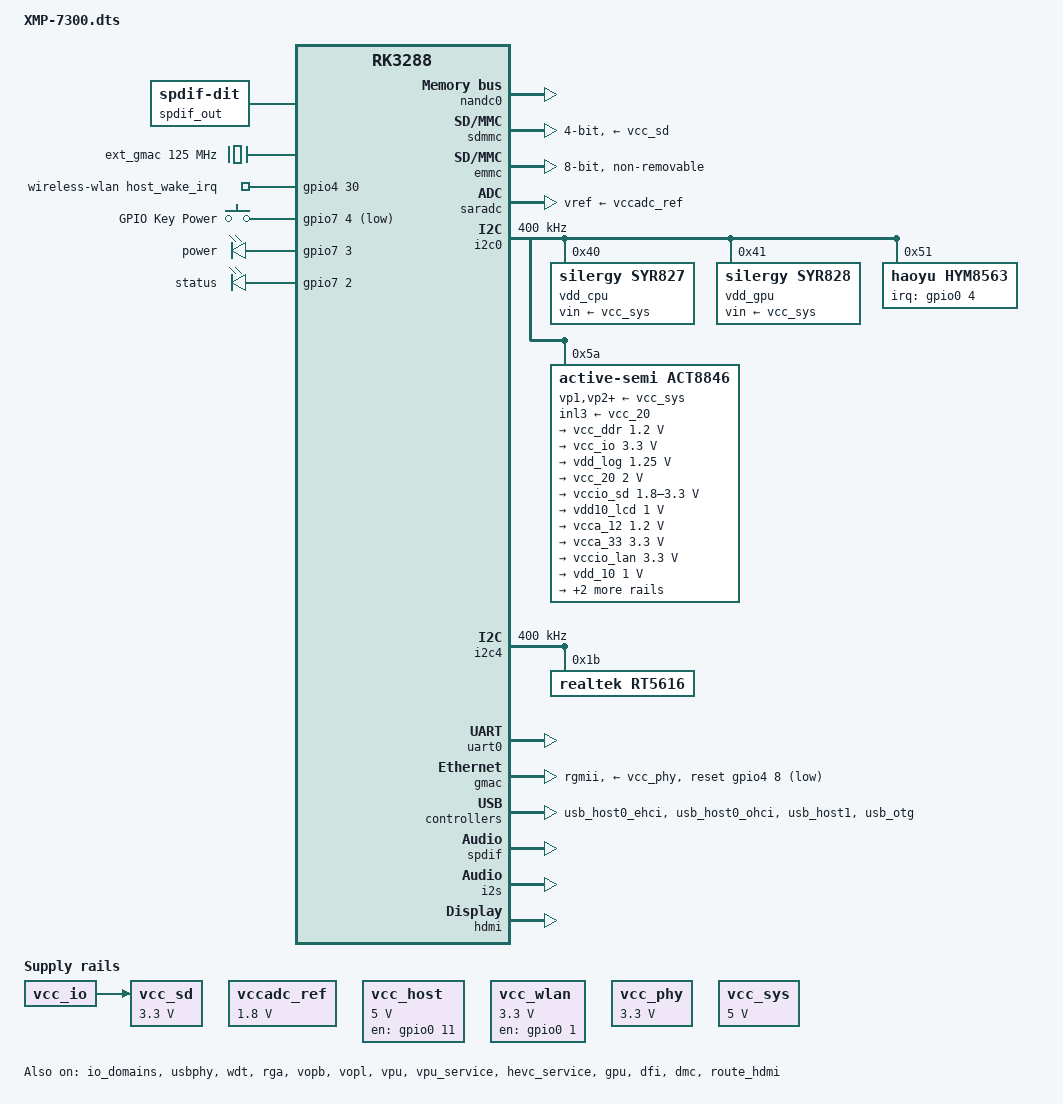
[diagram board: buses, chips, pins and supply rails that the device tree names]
/*
 * This file is dual-licensed: you can use it either under the terms
 * of the GPL or the X11 license, at your option. Note that this dual
 * licensing only applies to this file, and not this project as a
 * whole.
 *
 *  a) This file is free software; you can redistribute it and/or
 *     modify it under the terms of the GNU General Public License as
 *     published by the Free Software Foundation; either version 2 of the
 *     License, or (at your option) any later version.
 *
 *     This file is distributed in the hope that it will be useful,
 *     but WITHOUT ANY WARRANTY; without even the implied warranty of
 *     MERCHANTABILITY or FITNESS FOR A PARTICULAR PURPOSE.  See the
 *     GNU General Public License for more details.
 *
 * Or, alternatively,
 *
 *  b) Permission is hereby granted, free of charge, to any person
 *     obtaining a copy of this software and associated documentation
 *     files (the "Software"), to deal in the Software without
 *     restriction, including without limitation the rights to use,
 *     copy, modify, merge, publish, distribute, sublicense, and/or
 *     sell copies of the Software, and to permit persons to whom the
 *     Software is furnished to do so, subject to the following
 *     conditions:
 *
 *     The above copyright notice and this permission notice shall be
 *     included in all copies or substantial portions of the Software.
 *
 *     THE SOFTWARE IS PROVIDED "AS IS", WITHOUT WARRANTY OF ANY KIND,
 *     EXPRESS OR IMPLIED, INCLUDING BUT NOT LIMITED TO THE WARRANTIES
 *     OF MERCHANTABILITY, FITNESS FOR A PARTICULAR PURPOSE AND
 *     NONINFRINGEMENT. IN NO EVENT SHALL THE AUTHORS OR COPYRIGHT
 *     HOLDERS BE LIABLE FOR ANY CLAIM, DAMAGES OR OTHER LIABILITY,
 *     WHETHER IN AN ACTION OF CONTRACT, TORT OR OTHERWISE, ARISING
 *     FROM, OUT OF OR IN CONNECTION WITH THE SOFTWARE OR THE USE OR
 *     OTHER DEALINGS IN THE SOFTWARE.
 */

/dts-v1/;
#include <dt-bindings/input/input.h>
#include "rk3288.dtsi"
#include "rk3288cg-opp.dtsi"
#include "rk3288-linux.dtsi"
/ {
	compatible = "iadea,XMP-7300", "rockchip,rk3288";

	chosen {
		//bootargs = "earlyprintk console=ttyFIQ0 rw root=PARTUUID=614e0000-0000 rootfstype=ext4 rootwait";
		bootargs = "earlyprintk console=ttyFIQ0 rw root=/dev/mmcblk1p9 rootwait init=/linuxrc";
	};

	sound: sound {
		status = "okay";
		compatible = "simple-audio-card";
		simple-audio-card,format = "i2s";
		simple-audio-card,name = "rockchip,rt5616-codec";
		simple-audio-card,mclk-fs = <512>;
		simple-audio-card,widgets =
			//"Microphone", "Microphone Jack",
			"Headphone", "Headphone Jack";
		simple-audio-card,routing =
			//"MIC1", "Microphone Jack",
			//"MIC2", "Microphone Jack",
			//"Microphone Jack", "micbias1",
			"Headphone Jack", "HPOL",
			"Headphone Jack", "HPOR";

		//simple-audio-card,hp-det-gpio = <&gpio7 5 GPIO_ACTIVE_LOW>;
		//pinctrl-names = "default";
		//pinctrl-0 = <&hp_det>;

		simple-audio-card,dai-link@0 {
			format = "i2s";
			cpu {
				sound-dai = <&i2s>;
			};

			codec {
				sound-dai = <&rt5616>;
			};
		};

		simple-audio-card,dai-link@1 {
			format = "i2s";
			cpu {
				sound-dai = <&i2s>;
			};

			codec {
				sound-dai = <&hdmi>;
			};
		};
	};

	spdif-sound {
		status = "okay";
		compatible = "simple-audio-card";
		simple-audio-card,name = "rockchip,spdif";
		simple-audio-card,cpu {
			sound-dai = <&spdif>;
		};
		simple-audio-card,codec {
			sound-dai = <&spdif_out>;
		};
	};

    spdif_out: spdif-out {
        compatible = "linux,spdif-dit";
        #sound-dai-cells = <0>;
    };

	ext_gmac: external-gmac-clock {
		compatible = "fixed-clock";
		clock-frequency = <125000000>;
		clock-output-names = "ext_gmac";
		#clock-cells = <0>;
	};

	vccadc_ref: vccadc-ref {
		compatible = "regulator-fixed";
		regulator-name = "vcc1v8_sys";
		regulator-always-on;
		regulator-boot-on;
		regulator-min-microvolt = <1800000>;
		regulator-max-microvolt = <1800000>;
	};

	/* This turns on USB vbus */
	vcc_host: vcc-host-regulator {
		compatible = "regulator-fixed";
		enable-active-high;
		gpio = <&gpio0 11 GPIO_ACTIVE_HIGH>;
		pinctrl-names = "default";
		pinctrl-0 = <&host_vbus_drv>;
		regulator-name = "vcc_host";
		regulator-min-microvolt = <5000000>;
		regulator-max-microvolt = <5000000>;
		regulator-always-on;
		regulator-boot-on;
	};

	vcc_wlan: vcc-wlan-regular {
		compatible = "regulator-fixed";
		enable-active-high;
		gpio = <&gpio0 1 GPIO_ACTIVE_HIGH>;
		pinctrl-names = "default";
		pinctrl-0 = <&wifi_pwr>;
		regulator-name = "vcc_wlan";
		regulator-min-microvolt = <3300000>;
		regulator-max-microvolt = <3300000>;
		regulator-always-on;
		regulator-boot-on;
	};

	vcc_phy: vcc-phy-regulator {
		compatible = "regulator-fixed";
		regulator-name = "vcc_phy";
		regulator-min-microvolt = <3300000>;
		regulator-max-microvolt = <3300000>;
		regulator-always-on;
		regulator-boot-on;
	};

	vcc_sys: vsys-regulator {
		compatible = "regulator-fixed";
		regulator-name = "vcc_sys";
		regulator-min-microvolt = <5000000>;
		regulator-max-microvolt = <5000000>;
		regulator-always-on;
		regulator-boot-on;
	};

	/*
	 * NOTE: vcc_sd isn't hooked up on v1.0 boards where power comes from
	 * vcc_io directly.  Those boards won't be able to power cycle SD cards
	 * but it shouldn't hurt to toggle this pin there anyway.
	 */
	vcc_sd: sdmmc-regulator {
		compatible = "regulator-fixed";
		pinctrl-names = "default";
		pinctrl-0 = <&sdmmc_pwr>;
		regulator-name = "vcc_sd";
		regulator-min-microvolt = <3300000>;
		regulator-max-microvolt = <3300000>;
		startup-delay-us = <100000>;
		vin-supply = <&vcc_io>;
	};

	wireless-wlan {
		compatible = "wlan-platdata";
		rockchip,grf = <&grf>;
		wifi_chip_type = "rtkwifi";
		sdio_vref = <0>;
		WIFI,host_wake_irq = <&gpio4 30 GPIO_ACTIVE_HIGH>;
		status = "okay";
	};

	gpio-keys {
		compatible = "gpio-keys";
		#address-cells = <1>;
		#size-cells = <0>;
		autorepeat;

		pinctrl-names = "default";
		pinctrl-0 = <&pwrbtn>;

		button@0 {
			gpios = <&gpio7 4 GPIO_ACTIVE_LOW>;
			linux,code = <116>;
			label = "GPIO Key Power";
			linux,input-type = <1>;
			gpio-key,wakeup = <1>;
			debounce-interval = <100>;
		};
	};

	leds {
		compatible = "gpio-leds";

		power {
			gpios = <&gpio7 3 GPIO_ACTIVE_HIGH>;
			label = "power";
			linux,default-trigger = "default-on";
			pinctrl-names = "default";
			pinctrl-0 = <&power_led>;
		};

		status {
			gpios = <&gpio7 2 GPIO_ACTIVE_HIGH>;
			label = "status";
			linux,default-trigger = "none";
			pinctrl-names = "default";
			pinctrl-0 = <&status_led>;
		};

	};

	/*
	 * Used to load IDB
	 */
	nandc0: nandc@ff400000 {
		compatible = "rockchip,rk-nandc";
		reg = <0x0 0xff400000 0x0 0x4000>;
		interrupts = <GIC_SPI 38 IRQ_TYPE_LEVEL_HIGH>;
		nandc_id = <0>;
		clocks = <&cru SCLK_NANDC0>, <&cru HCLK_NANDC0>;
		clock-names = "clk_nandc", "hclk_nandc";
		status = "okay";
	};
};

&pinctrl {
	pcfg_pull_none_drv_8ma: pcfg-pull-none-drv-8ma {
		drive-strength = <8>;
	};

	pcfg_pull_up_drv_8ma: pcfg-pull-up-drv-8ma {
		bias-pull-up;
		drive-strength = <8>;
	};

	pmic {
		pmic_int: pmic-int {
			rockchip,pins = <RK_GPIO0 4 RK_FUNC_GPIO &pcfg_pull_up>;
		};
	};

	sdmmc {
		/*
		 * Default drive strength isn't enough to achieve even
		 * high-speed mode on EVB board so bump up to 8ma.
		 */
		sdmmc_bus4: sdmmc-bus4 {
			rockchip,pins = <6 16 RK_FUNC_1 &pcfg_pull_up_drv_8ma>,
					<6 17 RK_FUNC_1 &pcfg_pull_up_drv_8ma>,
					<6 18 RK_FUNC_1 &pcfg_pull_up_drv_8ma>,
					<6 19 RK_FUNC_1 &pcfg_pull_up_drv_8ma>;
		};

		sdmmc_clk: sdmmc-clk {
			rockchip,pins = <6 20 RK_FUNC_1 &pcfg_pull_none_drv_8ma>;
		};

		sdmmc_cmd: sdmmc-cmd {
			rockchip,pins = <6 21 RK_FUNC_1 &pcfg_pull_up_drv_8ma>;
		};

		sdmmc_pwr: sdmmc-pwr {
			rockchip,pins = <7 12 RK_FUNC_GPIO &pcfg_pull_none>;
		};
	};

	usb {
		host_vbus_drv: host-vbus-drv {
			rockchip,pins = <0 11 RK_FUNC_GPIO &pcfg_pull_none>;
		};
	};

	wifi {
		wifi_pwr: wifi-pwr {
			rockchip,pins = <0 1 RK_FUNC_GPIO &pcfg_pull_none>;
		};
	};

	buttons {
		pwrbtn: pwrbtn {
			rockchip,pins = <7 4 RK_FUNC_GPIO &pcfg_pull_up>;
		};
	};

    leds {
        power_led: power-led {
			rockchip,pins = <7 3 RK_FUNC_GPIO &pcfg_pull_none>;
        };

        status_led: status-led {
			rockchip,pins = <7 2 RK_FUNC_GPIO &pcfg_pull_none>;
        };
    };

    sound {
        hp_det: hp-det {
			rockchip,pins = <7 5 RK_FUNC_GPIO &pcfg_pull_none>;
        };
    };
};

//
// updte rk3288.dtsi
//

&cpu0 {
	cpu0-supply = <&vdd_cpu>;
};

&sdmmc {
	supports-sd;
	bus-width = <4>;
	cap-mmc-highspeed;
	sd-uhs-sdr12;
	sd-uhs-sdr25;
	sd-uhs-sdr50;
	sd-uhs-sdr104;
	cap-sd-highspeed;
	card-detect-delay = <200>;
	disable-wp;			/* wp not hooked up */
	num-slots = <1>;
	pinctrl-names = "default";
	pinctrl-0 = <&sdmmc_clk &sdmmc_cmd &sdmmc_cd &sdmmc_bus4>;
	status = "okay";
	vmmc-supply = <&vcc_sd>;
	vqmmc-supply = <&vccio_sd>;
	supports-sd;
};

&emmc {
	bus-width = <8>;
	cap-mmc-highspeed;
	disable-wp;
	non-removable;
	num-slots = <1>;
	pinctrl-names = "default";
	pinctrl-0 = <&emmc_clk &emmc_cmd &emmc_pwr &emmc_bus8>;
	max-frequency = <100000000>;
	//mmc-hs200-1_8v;
	mmc-ddr-1_8v;
	status = "okay";
};

&saradc {
	vref-supply = <&vccadc_ref>;
	status = "okay";
};

&i2c0 {
	status = "okay";
	clock-frequency = <400000>;

	vdd_cpu: syr827@40 {
		compatible = "silergy,syr827";
		fcs,suspend-voltage-selector = <1>;
		reg = <0x40>;
		regulator-name = "vdd_cpu";
		regulator-min-microvolt = <850000>;
		regulator-max-microvolt = <1350000>;
		regulator-always-on;
		regulator-boot-on;
		regulator-enable-ramp-delay = <300>;
		regulator-ramp-delay = <8000>;
		vin-supply = <&vcc_sys>;
		regulator-state-mem {
			regulator-off-in-suspend;
		};
	};

	vdd_gpu: syr828@41 {
		compatible = "silergy,syr828";
		fcs,suspend-voltage-selector = <1>;
		reg = <0x41>;
		regulator-name = "vdd_gpu";
		regulator-min-microvolt = <850000>;
		regulator-max-microvolt = <1350000>;
		regulator-always-on;
		regulator-ramp-delay = <6000>;
		vin-supply = <&vcc_sys>;
		regulator-state-mem {
			regulator-off-in-suspend;
		};
	};

	hym8563: hym8563@51 {
		compatible = "haoyu,hym8563";
		reg = <0x51>;

		interrupt-parent = <&gpio0>;
		interrupts = <4 IRQ_TYPE_EDGE_FALLING>;

		pinctrl-names = "default";
		pinctrl-0 = <&pmic_int>;

		#clock-cells = <0>;
		clock-output-names = "xin32k";
	};

	act8846: act8846@5a {
		compatible = "active-semi,act8846", "act,act8846";
		reg = <0x5a>;
		system-power-controller;
		status = "okay";

		vp1-supply = <&vcc_sys>;
		vp2-supply = <&vcc_sys>;
		vp3-supply = <&vcc_sys>;
		vp4-supply = <&vcc_sys>;
		inl1-supply = <&vcc_sys>;
		inl2-supply = <&vcc_sys>;
		inl3-supply = <&vcc_20>;

		regulators {
			vcc_ddr: REG1 {
				regulator-name = "VCC_DDR";
				regulator-min-microvolt = <1200000>;
				regulator-max-microvolt = <1200000>;
				regulator-always-on;
			};

			vcc_io: REG2 {
				regulator-name = "VCC_IO";
				regulator-min-microvolt = <3300000>;
				regulator-max-microvolt = <3300000>;
				regulator-always-on;
			};

			vdd_log: REG3 {
				regulator-name = "VDD_LOG";
				regulator-min-microvolt = <1250000>;
				regulator-max-microvolt = <1250000>;
				regulator-always-on;
			};

			vcc_20: REG4 {
				regulator-name = "VCC_20";
				regulator-min-microvolt = <2000000>;
				regulator-max-microvolt = <2000000>;
				regulator-always-on;
			};

			vccio_sd: REG5 {
				regulator-name = "VCCIO_SD";
				regulator-min-microvolt = <1800000>;
				regulator-max-microvolt = <3300000>;
				regulator-always-on;
			};

			vdd10_lcd: REG6 {
				regulator-name = "VDD10_LCD";
				regulator-min-microvolt = <1000000>;
				regulator-max-microvolt = <1000000>;
				regulator-always-on;
			};

			vcca_12: REG7 {
				regulator-name = "VCCA_12";
				regulator-min-microvolt = <1200000>;
				regulator-max-microvolt = <1200000>;
				regulator-always-on;
			};

			vcca_33: REG8 {
				regulator-name = "VCCA_33";
				regulator-min-microvolt = <3300000>;
				regulator-max-microvolt = <3300000>;
				regulator-always-on;
			};

			vccio_lan: REG9 {
				regulator-name = "VCCIO_LAN";
				regulator-min-microvolt = <3300000>;
				regulator-max-microvolt = <3300000>;
				regulator-always-on;
			};

			vdd_10: REG10 {
				regulator-name = "VDD_10";
				regulator-min-microvolt = <1000000>;
				regulator-max-microvolt = <1000000>;
				regulator-always-on;
			};

			vcc_18: REG11 {
				regulator-name = "VCC_18";
				regulator-min-microvolt = <1800000>;
				regulator-max-microvolt = <1800000>;
				regulator-always-on;
			};

			vcc18_lcd: REG12 {
				regulator-name = "VCC18_LCD";
				regulator-min-microvolt = <1800000>;
				regulator-max-microvolt = <1800000>;
				regulator-always-on;
			};
		};
	};
};

&i2c4 {
    status = "okay";
	clock-frequency = <400000>;

    rt5616: rt5616@1b {
        #sound-dai-cells = <0>;
        compatible = "realtek,rt5616";
        reg = <0x1b>;
        clocks = <&cru SCLK_I2S0_OUT>;
        clock-names = "mclk";
        pinctrl-names = "default";
        pinctrl-0 = <&i2s0_mclk>;
    };
};

&uart0 {
	pinctrl-names = "default";
	pinctrl-0 = <&uart0_xfer &uart0_cts &uart0_rts>;
	status = "okay";
};

&gmac {
	phy-supply = <&vcc_phy>;
	phy-mode = "rgmii";
	clock_in_out = "input";
	snps,reset-gpio = <&gpio4 8 0>;
	snps,reset-active-low;
	snps,reset-delays-us = <0 10000 50000>;
	assigned-clocks = <&cru SCLK_MAC>;
	assigned-clock-parents = <&ext_gmac>;
	pinctrl-names = "default";
	pinctrl-0 = <&rgmii_pins>;
	tx_delay = <0x30>;
	rx_delay = <0x10>;
	max-speed = <100>;
	status = "okay";
};

&usb_host0_ehci {
	rockchip-relinquish-port;
	status = "okay";
};

&usb_host0_ohci {
	status = "okay";
};

&usb_host1 {
	status = "okay";
};

&usb_otg {
	/*0 - Normal, 1 - Force Host, 2 - Force Device*/
	rockchip,usb-mode = <2>;
	status = "okay";
};

&io_domains {
	status = "okay";

	sdcard-supply = <&vccio_sd>;
	wifi-supply = <&vcc_18>;
};

&usbphy {
	status = "okay";
};

&wdt {
	status = "okay";
};

&spdif {
	status = "okay";
};

&i2s {
	#sound-dai-cells = <0>;
	status = "okay";
};

&rga {
	status = "okay";
};

&vopb {
	status = "okay";
};

&vopb_mmu {
	status = "okay";
};

&vopl {
	status = "okay";
};

&vopl_mmu {
	status = "okay";
};

&hdmi {
	#address-cells = <1>;
	#size-cells = <0>;
	#sound-dai-cells = <0>;
	status = "okay";
};

&vpu {
	status = "okay";
};

&vpu_service {
	status = "okay";
};

&hevc_service {
	status = "okay";
};

&gpu {
	status = "okay";
	mali-supply = <&vdd_gpu>;
};

//
// updte rk3288-linux.dtsi
//

&dfi {
	status = "okay";
};

&dmc {
	center-supply = <&vdd_log>;
	system-status-freq = <
		/*system status           freq(KHz)*/
		SYS_STATUS_NORMAL         396000
		SYS_STATUS_REBOOT         396000
		SYS_STATUS_SUSPEND        192000
		SYS_STATUS_VIDEO_1080P    300000
		SYS_STATUS_VIDEO_4K       396000
		SYS_STATUS_VIDEO_4K_10B   528000
		SYS_STATUS_PERFORMANCE    792000
		SYS_STATUS_BOOST          396000
		SYS_STATUS_DUALVIEW       396000
		SYS_STATUS_ISP            396000
	>;
	status = "okay";
};

&dmc_opp_table {
	opp-648000000 {
		opp-hz = /bits/ 64 <648000000>;
		opp-microvolt = <1250000>;
	};
	opp-792000000 {
		opp-hz = /bits/ 64 <792000000>;
		opp-microvolt = <1250000>;
	};
};

&route_hdmi {
	status = "okay";
};

